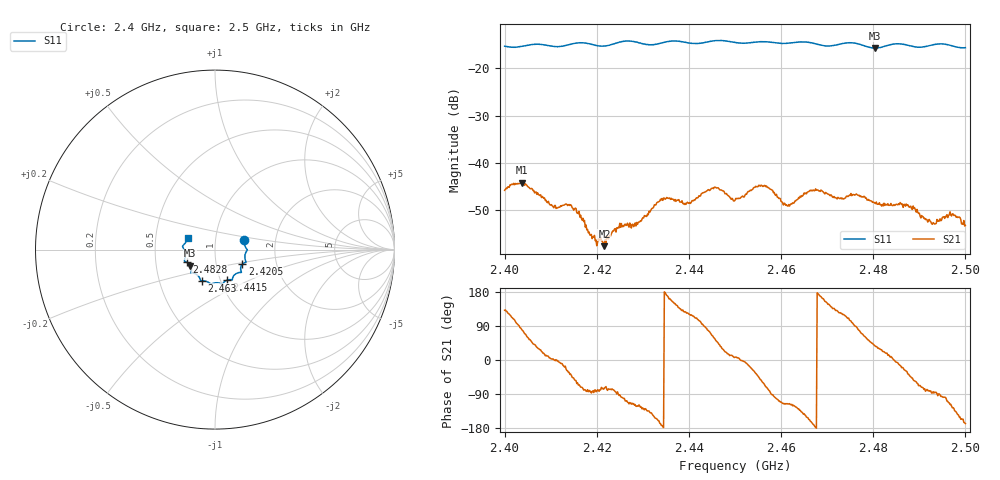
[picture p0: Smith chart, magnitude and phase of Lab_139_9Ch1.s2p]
# Hz S RI R 50
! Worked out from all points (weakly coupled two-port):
!   601 points, 2.4 GHz to 2.5 GHz, reference 50 ohm
!   highest |S21| = -44.12 dB at 2.4037 GHz (marker M1); lowest = -57.6 dB at 2.4217 GHz (marker M2)
!   lowest |S11| = -15.7 dB at 2.4803 GHz (marker M3), VSWR 1.39, Z = 37.4 - j6.85 ohm
!   |S11| at or under -10 dB: start of sweep to end of sweep
!   S12 and S22 are empty: the file has one direction only
!   S11 on the Smith chart (normalised r, x): 2.4 GHz: 1.38, +0.15; 2.4205 GHz: 1.34, -0.23; 2.4415 GHz: 1.07, -0.38; 2.463 GHz: 0.82, -0.29; 2.4828 GHz: 0.72, -0.10; 2.5 GHz: 0.73, +0.10
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2.4e9  0.1635 0.052  -0.0034 0.00387  0 0  0 0
2.403667e9  0.1701 0.0126  0.000946 0.00615  0 0  0 0
2.416667e9  0.173 -0.07  0.000815 -0.00247  0 0  0 0
2.4205e9  0.1521 -0.0819  0.000194 -0.00151  0 0  0 0
2.421667e9  0.1456 -0.0919  0.000366 -0.00127  0 0  0 0
2.424833e9  0.1455 -0.1205  -0.000129 -0.00206  0 0  0 0
2.429e9  0.1376 -0.1275  -0.00125 -0.00201  0 0  0 0
2.433333e9  0.1004 -0.1516  -0.00363 -0.00133  0 0  0 0
2.4415e9  0.0657 -0.1708  -0.00148 0.00395  0 0  0 0
2.446e9  0.0413 -0.1925  0.00354 0.00413  0 0  0 0
2.45e9  0.0242 -0.1864  0.004 0.000508  0 0  0 0
2.456e9  -0.0215 -0.1904  0.0029 -0.00486  0 0  0 0
2.461e9  -0.0562 -0.175  -0.00158 -0.00321  0 0  0 0
2.463e9  -0.0721 -0.1737  -0.00212 -0.00335  0 0  0 0
2.466667e9  -0.0822 -0.1669  -0.00499 -0.00132  0 0  0 0
2.480333e9  -0.1377 -0.0892  0.00301 0.00234  0 0  0 0
2.482833e9  -0.1586 -0.07  0.00345 0.00112  0 0  0 0
2.483333e9  -0.1624 -0.0681  0.00347 0.000841  0 0  0 0
2.487667e9  -0.1675 -0.0499  0.00277 -0.00213  0 0  0 0
2.493167e9  -0.1784 0.0106  0.00011 -0.0023  0 0  0 0
2.497e9  -0.1713 0.03  -0.00144 -0.00235  0 0  0 0
2.5e9  -0.1527 0.0644  -0.00213 -0.000463  0 0  0 0
